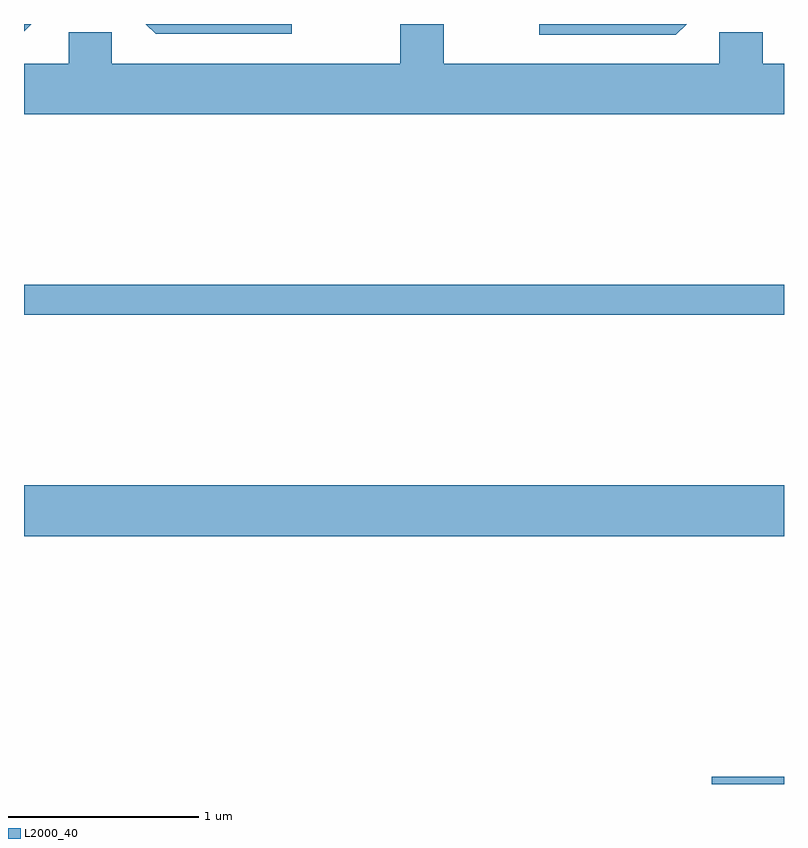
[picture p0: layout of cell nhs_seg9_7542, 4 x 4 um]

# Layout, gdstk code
import gdstk
lib = gdstk.Library(unit=1e-6, precision=1e-09)
def R(c, l, rs):  # rectangles x0, y0, x1, y1
    for r in rs: c.add(gdstk.rectangle(r[:2], r[2:], *l))
def P(c, l, *ps):  # polygons
    for p in ps: c.add(gdstk.Polygon(p, *l))
L2000_40 = (2000, 40)

nhs_seg9_7542 = lib.new_cell('nhs_seg9_7542')
R(nhs_seg9_7542, L2000_40, [(411.231,2070.432,411.611,2070.469), (407.611,2071.736,411.611,2072.004), (407.611,2072.901,411.611,2073.059)])
P(nhs_seg9_7542, L2000_40, [(411.611,2074.224),(411.499,2074.224),(411.499,2074.389),(411.271,2074.389),(411.271,2074.224),(409.819,2074.224),(409.819,2074.432),(409.591,2074.432),(409.591,2074.224),(408.074,2074.224),(408.074,2074.389),(407.846,2074.389),(407.846,2074.224),(407.611,2074.224),(407.611,2073.956),(411.611,2073.956)],
  [(407.648,2074.432),(407.611,2074.432),(407.611,2074.395)],
  [(409.019,2074.432),(408.253,2074.432),(408.304,2074.381),(409.019,2074.381)],
  [(411.098,2074.432),(410.323,2074.432),(410.323,2074.376),(411.042,2074.376)])

lib.write_gds('nhs_seg9_7542.gds')
